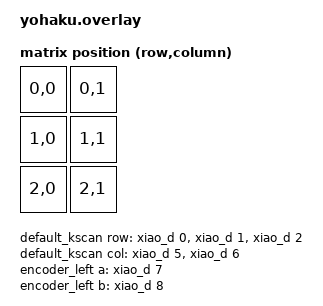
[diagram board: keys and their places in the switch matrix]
#include <dt-bindings/zmk/matrix_transform.h>

/ {
    chosen {
        zmk,kscan = &default_kscan;
        zmk,matrix_transform = &default_trasform;
    };

    default_kscan: kscan {
        compatible = "zmk,kscan-gpio-matrix";
        label = "default_kscan";
        diode-direction = "col2row";

        col-gpios
            = <&xiao_d 5 GPIO_ACTIVE_HIGH>
            , <&xiao_d 6 GPIO_ACTIVE_HIGH>
            ;

        row-gpios
            = <&xiao_d 0 (GPIO_ACTIVE_HIGH | GPIO_PULL_DOWN)>
            , <&xiao_d 1 (GPIO_ACTIVE_HIGH | GPIO_PULL_DOWN)>
            , <&xiao_d 2 (GPIO_ACTIVE_HIGH | GPIO_PULL_DOWN)>
            ;
    };

    default_trasform: matrix_transform {
        compatible = "zmk,matrix-transform";
        columns = <2>;
        rows = <3>;

        map = <
            RC(0,0) RC(0,1)
            RC(1,0) RC(1,1)
            RC(2,0) RC(2,1)
        >;
    };

    encoder_left: encoder_left {
        compatible = "alps,ec11";
        a-gpios = <&xiao_d 7 (GPIO_ACTIVE_LOW | GPIO_PULL_UP)>;
        b-gpios = <&xiao_d 8 (GPIO_ACTIVE_LOW | GPIO_PULL_UP)>;
        steps = <24>;
    };
};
